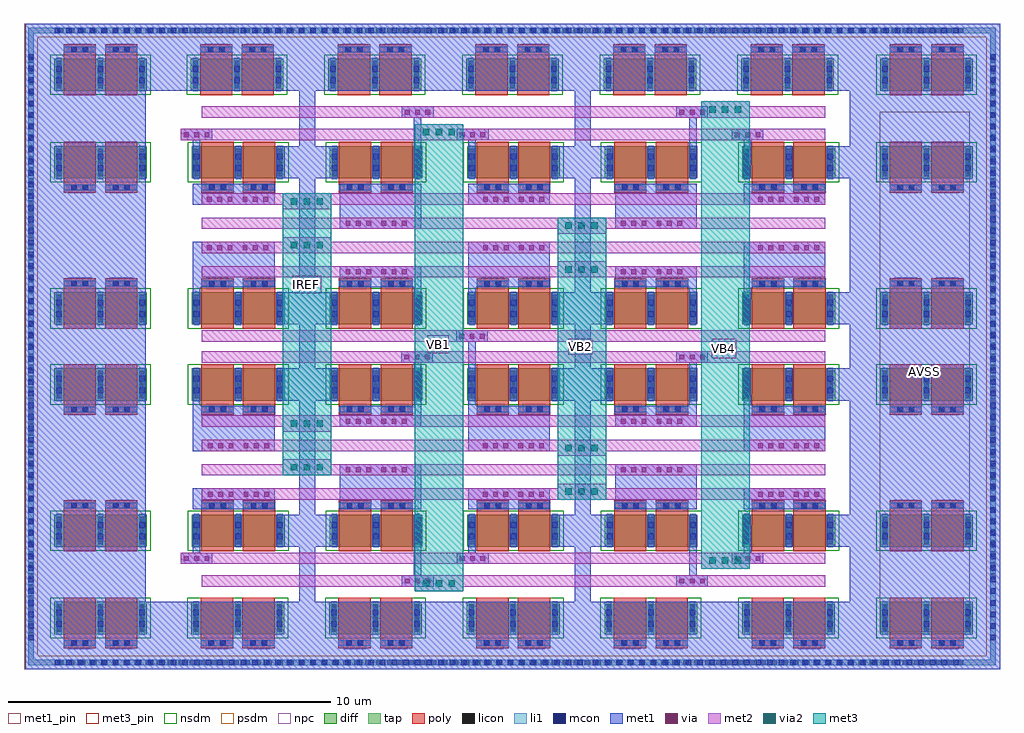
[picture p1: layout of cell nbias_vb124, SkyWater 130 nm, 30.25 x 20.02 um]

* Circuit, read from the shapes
.subckt nbias_vb124 AVSS IREF VB1 VB2 VB4
XM1 AVSS AVSS AVSS AVSS sky130_fd_pr__nfet_01v8 w=1 l=1 m=44
XM2 n1 VB2 VB4 AVSS sky130_fd_pr__nfet_01v8 w=1 l=1
XM3 n2 VB2 VB2 AVSS sky130_fd_pr__nfet_01v8 w=1 l=1
XM4 n3 IREF IREF AVSS sky130_fd_pr__nfet_01v8 w=1 l=1
XM5 n4 IREF VB1 AVSS sky130_fd_pr__nfet_01v8 w=1 l=1
XM6 AVSS VB2 n1 AVSS sky130_fd_pr__nfet_01v8 w=1 l=1
XM7 AVSS VB2 n2 AVSS sky130_fd_pr__nfet_01v8 w=1 l=1
XM8 AVSS IREF n3 AVSS sky130_fd_pr__nfet_01v8 w=1 l=1
XM9 AVSS IREF n4 AVSS sky130_fd_pr__nfet_01v8 w=1 l=1
XM10 n5 IREF AVSS AVSS sky130_fd_pr__nfet_01v8 w=1 l=1
XM11 n6 IREF AVSS AVSS sky130_fd_pr__nfet_01v8 w=1 l=1
XM12 n7 VB2 AVSS AVSS sky130_fd_pr__nfet_01v8 w=1 l=1
XM13 n8 VB2 AVSS AVSS sky130_fd_pr__nfet_01v8 w=1 l=1
XM14 VB1 IREF n5 AVSS sky130_fd_pr__nfet_01v8 w=1 l=1
XM15 IREF IREF n6 AVSS sky130_fd_pr__nfet_01v8 w=1 l=1
XM16 VB2 VB2 n7 AVSS sky130_fd_pr__nfet_01v8 w=1 l=1
XM17 VB4 VB2 n8 AVSS sky130_fd_pr__nfet_01v8 w=1 l=1
XM18 n9 VB2 VB4 AVSS sky130_fd_pr__nfet_01v8 w=1 l=1
XM19 n10 VB2 VB2 AVSS sky130_fd_pr__nfet_01v8 w=1 l=1
XM20 n11 IREF IREF AVSS sky130_fd_pr__nfet_01v8 w=1 l=1
XM21 n12 IREF VB1 AVSS sky130_fd_pr__nfet_01v8 w=1 l=1
XM22 AVSS VB2 n9 AVSS sky130_fd_pr__nfet_01v8 w=1 l=1
XM23 AVSS VB2 n10 AVSS sky130_fd_pr__nfet_01v8 w=1 l=1
XM24 AVSS IREF n11 AVSS sky130_fd_pr__nfet_01v8 w=1 l=1
XM25 AVSS IREF n12 AVSS sky130_fd_pr__nfet_01v8 w=1 l=1
XM26 n13 IREF AVSS AVSS sky130_fd_pr__nfet_01v8 w=1 l=1
XM27 n14 IREF AVSS AVSS sky130_fd_pr__nfet_01v8 w=1 l=1
XM28 n15 VB2 AVSS AVSS sky130_fd_pr__nfet_01v8 w=1 l=1
XM29 n16 VB2 AVSS AVSS sky130_fd_pr__nfet_01v8 w=1 l=1
XM30 VB1 IREF n13 AVSS sky130_fd_pr__nfet_01v8 w=1 l=1
XM31 IREF IREF n14 AVSS sky130_fd_pr__nfet_01v8 w=1 l=1
XM32 VB2 VB2 n15 AVSS sky130_fd_pr__nfet_01v8 w=1 l=1
XM33 VB4 VB2 n16 AVSS sky130_fd_pr__nfet_01v8 w=1 l=1
XM34 n17 VB2 VB4 AVSS sky130_fd_pr__nfet_01v8 w=1 l=1
XM35 n18 VB2 VB2 AVSS sky130_fd_pr__nfet_01v8 w=1 l=1
XM36 n19 IREF IREF AVSS sky130_fd_pr__nfet_01v8 w=1 l=1
XM37 n20 IREF VB1 AVSS sky130_fd_pr__nfet_01v8 w=1 l=1
XM38 AVSS VB2 n17 AVSS sky130_fd_pr__nfet_01v8 w=1 l=1
XM39 AVSS VB2 n18 AVSS sky130_fd_pr__nfet_01v8 w=1 l=1
XM40 AVSS IREF n19 AVSS sky130_fd_pr__nfet_01v8 w=1 l=1
XM41 AVSS IREF n20 AVSS sky130_fd_pr__nfet_01v8 w=1 l=1
.ends

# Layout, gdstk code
import gdstk
lib = gdstk.Library(unit=1e-6, precision=1e-09)
def R(c, l, rs):  # rectangles x0, y0, x1, y1
    for r in rs: c.add(gdstk.rectangle(r[:2], r[2:], *l))
def A(c, l, x, y, w, h, nx, ny, dx, dy):  # array of equal rectangles
    R(c, l, [(x+i*dx, y+j*dy, x+i*dx+w, y+j*dy+h) for i in range(nx) for j in range(ny)])
diff = (65, 20)
tap = (65, 44)
poly = (66, 20)
licon = (66, 44)
li1 = (67, 20)
mcon = (67, 44)
met1_pin = (68, 16)
met1 = (68, 20)
via = (68, 44)
met2 = (69, 20)
via2 = (69, 44)
met3_pin = (70, 16)
met3 = (70, 20)
nsdm = (93, 44)
psdm = (94, 20)
npc = (95, 20)

nfet_2series = lib.new_cell('nfet_2series')
R(nfet_2series, diff, [(10.735,-0.46,13.605,0.54)])
R(nfet_2series, poly, [(11.025,-0.59,12.025,0.98), (12.315,-0.59,13.315,0.98)])
A(nfet_2series, licon, 10.795, -0.385, 0.17, 0.17, 3, 3, 1.29, 0.34)
R(nfet_2series, licon, [(11.27,0.73,11.44,0.9), (11.61,0.73,11.78,0.9), (12.56,0.73,12.73,0.9), (12.9,0.73,13.07,0.9)])
A(nfet_2series, li1, 10.795, -0.48, 0.17, 1.04, 3, 1, 1.29, 0)
R(nfet_2series, li1, [(11.025,0.73,12.025,0.9), (12.315,0.73,13.315,0.9)])
A(nfet_2series, mcon, 10.795, -0.225, 0.17, 0.17, 3, 2, 1.29, 0.36)
R(nfet_2series, mcon, [(11.26,0.73,11.43,0.9), (11.62,0.73,11.79,0.9), (12.55,0.73,12.72,0.9), (12.91,0.73,13.08,0.9)])
A(nfet_2series, met1, 10.765, -0.46, 0.23, 1, 3, 1, 1.29, 0)
R(nfet_2series, met1, [(11.045,0.7,13.295,0.93)])
R(nfet_2series, nsdm, [(10.61,-0.585,13.73,0.665)])
R(nfet_2series, npc, [(11.17,0.63,11.88,1), (12.46,0.63,13.17,1)])

nbias_vb124 = lib.new_cell('nbias_vb124')
R(nbias_vb124, tap, [(-12.29,-9.075,17.705,-8.905), (-12.29,-8.905,-12.12,10.52), (17.535,-8.905,17.705,10.52), (-12.29,10.52,17.705,10.69)])
A(nbias_vb124, licon, -11.365, -9.075, 0.17, 0.17, 83, 2, 0.34, 19.595)
A(nbias_vb124, licon, -12.29, -8.085, 0.17, 0.17, 1, 53, 0, 0.34)
A(nbias_vb124, licon, 17.535, -6.385, 0.17, 0.17, 1, 48, 0, 0.34)
R(nbias_vb124, li1, [(-12.29,-9.075,17.705,-8.905), (-12.29,-8.905,-12.12,10.52), (17.535,-8.905,17.705,10.52), (-12.29,10.52,17.705,10.69)])
A(nbias_vb124, mcon, -11.465, -9.075, 0.17, 0.17, 46, 2, 0.36, 19.595)
A(nbias_vb124, mcon, 5.215, -9.075, 0.17, 0.17, 32, 2, 0.36, 19.595)
A(nbias_vb124, mcon, -12.29, -8.3, 0.17, 0.17, 1, 51, 0, 0.36)
A(nbias_vb124, mcon, 17.535, -8.3, 0.17, 0.17, 1, 51, 0, 0.36)
R(nbias_vb124, met1_pin, [(14.11,-8.035,16.885,8.085)])
R(nbias_vb124, met1, [(-12.38,-9.2,17.83,-7.11), (-12.38,-7.11,-8.635,8.73), (-3.89,-7.11,-3.39,-5.4), (4.645,-7.11,5.145,-5.4), (13.175,-7.11,17.83,-5.4), (-0.705,-6.63,0.275,-6.28), (7.795,-6.63,8.775,-6.28), (-0.335,-6.28,-0.105,-4.73), (8.2,-6.28,8.43,-4.73), (-7.56,-5.93,-6.58,-5.58), (1,-5.93,1.98,-5.58), (9.515,-5.93,10.495,-5.58), (-7.18,-5.58,-6.95,-4.73), (1.35,-5.58,1.58,-4.73), (9.885,-5.58,10.115,-4.73), (-4.6,-5.4,-2.685,-4.4), (3.93,-5.4,5.85,-4.4), (12.465,-5.4,17.83,-4.4), (-3.89,-4.4,-3.39,-0.87), (4.645,-4.4,5.145,-0.87), (13.175,-4.4,17.83,-0.87), (-7.18,-4.24,-4.65,-3.59), (-2.635,-4.24,-0.105,-2.835), (1.35,-4.24,3.88,-3.59), (5.9,-4.24,8.43,-2.835), (9.885,-4.24,12.415,-3.59), (-7.18,-2.435,-4.65,-1.03), (1.35,-2.435,3.88,-1.03), (9.885,-2.435,12.415,-1.03), (-2.635,-1.68,-0.105,-1.03), (5.9,-1.68,8.43,-1.03), (-7.18,-1.03,-6.95,-0.68), (-0.335,-1.03,-0.105,-0.68), (1.35,-1.03,1.58,-0.68), (8.2,-1.03,8.43,-0.68), (9.885,-1.03,10.115,-0.68), (-4.6,-0.87,-2.685,0.13), (3.93,-0.87,5.85,0.13), (12.465,-0.87,17.83,0.13), (-0.335,-0.525,-0.105,0.31), (1.35,-0.525,1.58,0.955), (8.2,-0.525,8.43,0.31), (-3.89,0.13,-3.39,1.49), (4.645,0.13,5.145,1.49), (13.175,0.13,17.83,1.49), (-0.73,0.31,0.25,0.66), (7.795,0.31,8.775,0.66), (0.975,0.955,1.955,1.305), (-4.6,1.49,-2.685,2.49), (3.93,1.49,5.85,2.49), (12.465,1.49,17.83,2.49), (-7.18,2.265,-6.95,2.65), (-0.335,2.265,-0.105,2.65), (1.35,2.265,1.58,2.65), (8.2,2.265,8.43,2.65), (9.885,2.265,10.115,2.65), (-3.89,2.49,-3.39,6.015), (4.645,2.49,5.145,6.015), (13.175,2.49,17.83,6.015), (-7.18,2.65,-4.65,4.05), (-2.635,2.65,-0.105,3.3), (1.35,2.65,3.88,4.05), (5.9,2.65,8.43,3.3), (9.885,2.65,12.415,4.05), (-2.635,4.455,-0.105,5.855), (5.9,4.455,8.43,5.855), (-7.18,5.205,-4.65,5.855), (1.35,5.205,3.88,5.855), (9.885,5.205,12.415,5.855), (-4.6,6.015,-2.685,7.015), (3.93,6.015,5.85,7.015), (12.465,6.015,17.83,7.015), (-7.18,6.445,-6.95,7.2), (-0.335,6.445,-0.105,7.9), (1.35,6.445,1.58,7.2), (8.2,6.445,8.43,7.9), (9.885,6.445,10.115,7.2), (-3.89,7.015,-3.39,8.73), (4.645,7.015,5.145,8.73), (13.175,7.015,17.83,8.73), (-7.56,7.2,-6.58,7.55), (1,7.2,1.98,7.55), (9.515,7.2,10.495,7.55), (-0.705,7.9,0.275,8.25), (7.795,7.9,8.775,8.25), (-12.38,8.73,17.83,10.815)])
A(nbias_vb124, via, -0.615, -6.535, 0.15, 0.15, 3, 2, 0.32, 14.53)
A(nbias_vb124, via, 7.895, -6.535, 0.15, 0.15, 3, 2, 0.32, 6.94)
A(nbias_vb124, via, -7.46, -5.835, 0.15, 0.15, 3, 2, 0.32, 13.13)
A(nbias_vb124, via, 1.09, -5.835, 0.15, 0.15, 3, 2, 0.32, 13.13)
A(nbias_vb124, via, 9.615, -5.835, 0.15, 0.15, 3, 2, 0.32, 13.13)
A(nbias_vb124, via, -6.715, -3.845, 0.15, 0.15, 3, 2, 0.32, 1.505)
A(nbias_vb124, via, -5.61, -3.845, 0.15, 0.15, 3, 2, 0.32, 1.505)
A(nbias_vb124, via, 1.8, -3.845, 0.15, 0.15, 3, 2, 0.32, 1.505)
A(nbias_vb124, via, 2.905, -3.845, 0.15, 0.15, 3, 2, 0.32, 1.505)
A(nbias_vb124, via, 10.335, -3.845, 0.15, 0.15, 3, 2, 0.32, 1.505)
A(nbias_vb124, via, 11.44, -3.845, 0.15, 0.15, 3, 2, 0.32, 1.505)
A(nbias_vb124, via, -2.45, -3.09, 0.15, 0.15, 3, 2, 0.32, 1.505)
A(nbias_vb124, via, -1.345, -3.09, 0.15, 0.15, 3, 2, 0.32, 1.505)
A(nbias_vb124, via, 6.085, -3.09, 0.15, 0.15, 3, 2, 0.32, 1.505)
A(nbias_vb124, via, 7.19, -3.09, 0.15, 0.15, 3, 2, 0.32, 1.505)
A(nbias_vb124, via, -0.63, 0.405, 0.15, 0.15, 3, 1, 0.32, 0)
A(nbias_vb124, via, 1.075, 1.05, 0.15, 0.15, 3, 1, 0.32, 0)
A(nbias_vb124, via, -2.45, 3.045, 0.15, 0.15, 3, 2, 0.32, 1.505)
A(nbias_vb124, via, -1.345, 3.045, 0.15, 0.15, 3, 2, 0.32, 1.505)
A(nbias_vb124, via, 6.085, 3.045, 0.15, 0.15, 3, 2, 0.32, 1.505)
A(nbias_vb124, via, 7.19, 3.045, 0.15, 0.15, 3, 2, 0.32, 1.505)
A(nbias_vb124, via, -6.745, 3.795, 0.15, 0.15, 3, 2, 0.32, 1.505)
A(nbias_vb124, via, -5.64, 3.795, 0.15, 0.15, 3, 2, 0.32, 1.505)
A(nbias_vb124, via, 1.81, 3.795, 0.15, 0.15, 3, 2, 0.32, 1.505)
A(nbias_vb124, via, 2.915, 3.795, 0.15, 0.15, 3, 2, 0.32, 1.505)
A(nbias_vb124, via, 10.335, 3.795, 0.15, 0.15, 3, 2, 0.32, 1.505)
A(nbias_vb124, via, 11.44, 3.795, 0.15, 0.15, 3, 2, 0.32, 1.505)
A(nbias_vb124, via, 7.895, 7.995, 0.15, 0.15, 3, 1, 0.32, 0)
R(nbias_vb124, met2, [(-0.3,-6.78,1.2,-6.63), (-6.9,-6.63,12.415,-6.28), (8.575,-6.08,10.075,-5.93), (-7.56,-5.93,12.415,-5.58), (-6.9,-3.94,12.415,-3.59), (4.125,-3.59,5.625,-3.44), (-6.9,-3.185,12.415,-2.835), (-4.39,-2.835,-2.89,-2.685), (4.125,-2.585,5.625,-2.435), (-6.9,-2.435,12.415,-2.085), (-4.39,-1.83,-2.89,-1.68), (-6.9,-1.68,12.415,-1.33), (-6.9,0.31,12.415,0.66), (-6.9,0.955,12.415,1.305), (-6.9,2.95,12.415,3.3), (4.125,3.3,5.625,3.45), (-6.9,3.7,12.415,4.05), (-4.39,4.05,-2.89,4.2), (4.125,4.305,5.625,4.455), (-6.9,4.455,12.415,4.805), (-4.39,5.055,-2.89,5.205), (-6.9,5.205,12.415,5.555), (-7.56,7.2,12.415,7.55), (-0.3,7.55,1.2,7.7), (-6.9,7.9,12.415,8.25), (8.575,8.25,10.075,8.4)])
A(nbias_vb124, via2, -0.06, -6.63, 0.2, 0.2, 3, 2, 0.4, 13.98)
A(nbias_vb124, via2, 8.815, -5.93, 0.2, 0.2, 3, 2, 0.4, 13.98)
A(nbias_vb124, via2, 4.365, -3.79, 0.2, 0.2, 3, 2, 0.4, 1.355)
A(nbias_vb124, via2, -4.15, -3.035, 0.2, 0.2, 3, 2, 0.4, 1.355)
A(nbias_vb124, via2, 4.365, 3.1, 0.2, 0.2, 3, 2, 0.4, 1.355)
A(nbias_vb124, via2, -4.15, 3.85, 0.2, 0.2, 3, 2, 0.4, 1.355)
R(nbias_vb124, met3_pin, [(8.9,0.45,9.65,1.05), (4.45,0.55,5.2,1.05), (0.1,0.6,0.75,1.15), (-4.1,2.45,-3.2,3)])
R(nbias_vb124, met3, [(-0.3,-6.78,1.2,7.7), (8.575,-6.08,10.075,8.4), (4.125,-3.94,5.625,4.805), (-4.39,-3.185,-2.89,5.555)])
R(nbias_vb124, psdm, [(-12.415,-9.2,17.83,-8.78), (-12.415,-8.78,-11.995,10.395), (17.41,-8.78,17.83,10.395), (-12.415,10.395,17.83,10.815)])
nbias_vb124.add(gdstk.Reference(nfet_2series, (-22.215,-4.94)))
nbias_vb124.add(gdstk.Reference(nfet_2series, (-22.215,-7.57), x_reflection=True))
nbias_vb124.add(gdstk.Reference(nfet_2series, (-17.945,-4.94)))
nbias_vb124.add(gdstk.Reference(nfet_2series, (-17.96,-7.57), x_reflection=True))
nbias_vb124.add(gdstk.Reference(nfet_2series, (-13.68,-4.94)))
nbias_vb124.add(gdstk.Reference(nfet_2series, (-13.695,-7.57), x_reflection=True))
nbias_vb124.add(gdstk.Reference(nfet_2series, (-9.415,-4.94)))
nbias_vb124.add(gdstk.Reference(nfet_2series, (-9.425,-7.57), x_reflection=True))
nbias_vb124.add(gdstk.Reference(nfet_2series, (-5.15,-4.94)))
nbias_vb124.add(gdstk.Reference(nfet_2series, (-5.16,-7.57), x_reflection=True))
nbias_vb124.add(gdstk.Reference(nfet_2series, (-0.885,-4.94)))
nbias_vb124.add(gdstk.Reference(nfet_2series, (-0.895,-7.57), x_reflection=True))
nbias_vb124.add(gdstk.Reference(nfet_2series, (3.385,-4.94)))
nbias_vb124.add(gdstk.Reference(nfet_2series, (3.385,-7.57), x_reflection=True))
nbias_vb124.add(gdstk.Reference(nfet_2series, (-22.215,-0.33), x_reflection=True))
nbias_vb124.add(gdstk.Reference(nfet_2series, (-22.215,1.95)))
nbias_vb124.add(gdstk.Reference(nfet_2series, (-17.945,-0.33), x_reflection=True))
nbias_vb124.add(gdstk.Reference(nfet_2series, (-17.945,1.95)))
nbias_vb124.add(gdstk.Reference(nfet_2series, (-13.68,-0.33), x_reflection=True))
nbias_vb124.add(gdstk.Reference(nfet_2series, (-13.68,1.95)))
nbias_vb124.add(gdstk.Reference(nfet_2series, (-9.415,-0.33), x_reflection=True))
nbias_vb124.add(gdstk.Reference(nfet_2series, (-9.415,1.95)))
nbias_vb124.add(gdstk.Reference(nfet_2series, (-5.15,-0.33), x_reflection=True))
nbias_vb124.add(gdstk.Reference(nfet_2series, (-5.15,1.95)))
nbias_vb124.add(gdstk.Reference(nfet_2series, (-0.885,-0.33), x_reflection=True))
nbias_vb124.add(gdstk.Reference(nfet_2series, (-0.885,1.95)))
nbias_vb124.add(gdstk.Reference(nfet_2series, (3.385,-0.33), x_reflection=True))
nbias_vb124.add(gdstk.Reference(nfet_2series, (3.385,1.95)))
nbias_vb124.add(gdstk.Reference(nfet_2series, (-22.215,6.555), x_reflection=True))
nbias_vb124.add(gdstk.Reference(nfet_2series, (-17.945,6.555), x_reflection=True))
nbias_vb124.add(gdstk.Reference(nfet_2series, (-13.68,6.555), x_reflection=True))
nbias_vb124.add(gdstk.Reference(nfet_2series, (-9.415,6.555), x_reflection=True))
nbias_vb124.add(gdstk.Reference(nfet_2series, (-5.15,6.555), x_reflection=True))
nbias_vb124.add(gdstk.Reference(nfet_2series, (-0.885,6.555), x_reflection=True))
nbias_vb124.add(gdstk.Reference(nfet_2series, (3.385,6.555), x_reflection=True))
nbias_vb124.add(gdstk.Reference(nfet_2series, (-22.215,9.19)))
nbias_vb124.add(gdstk.Reference(nfet_2series, (-17.985,9.19)))
nbias_vb124.add(gdstk.Reference(nfet_2series, (-13.715,9.19)))
nbias_vb124.add(gdstk.Reference(nfet_2series, (-9.45,9.19)))
nbias_vb124.add(gdstk.Reference(nfet_2series, (-5.185,9.19)))
nbias_vb124.add(gdstk.Reference(nfet_2series, (-0.92,9.19)))
nbias_vb124.add(gdstk.Reference(nfet_2series, (3.385,9.19)))
nbias_vb124.add(gdstk.Label('IREF', (-3.65,2.725), layer=70, texttype=5))
nbias_vb124.add(gdstk.Label('VB1', (0.425,0.875), layer=70, texttype=5))
nbias_vb124.add(gdstk.Label('VB2', (4.825,0.8), layer=70, texttype=5))
nbias_vb124.add(gdstk.Label('VB4', (9.275,0.75), layer=70, texttype=5))
nbias_vb124.add(gdstk.Label('AVSS', (15.497,0.025), layer=68, texttype=5))

lib.write_gds('nbias_vb124.gds')
